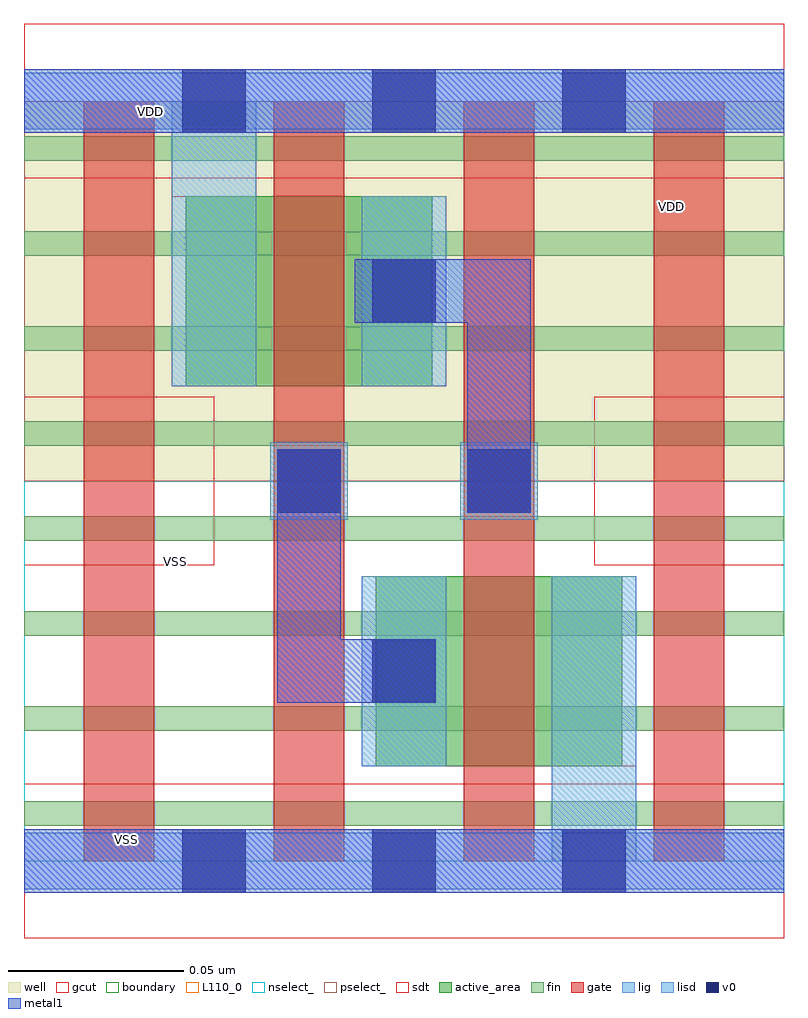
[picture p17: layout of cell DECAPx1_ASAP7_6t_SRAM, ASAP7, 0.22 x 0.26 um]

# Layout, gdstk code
import gdstk
lib = gdstk.Library(unit=1e-6, precision=2.5e-10)
def R(c, l, rs):  # rectangles x0, y0, x1, y1
    for r in rs: c.add(gdstk.rectangle(r[:2], r[2:], *l))
def A(c, l, x, y, w, h, nx, ny, dx, dy):  # array of equal rectangles
    R(c, l, [(x+i*dx, y+j*dy, x+i*dx+w, y+j*dy+h) for i in range(nx) for j in range(ny)])
def P(c, l, *ps):  # polygons
    for p in ps: c.add(gdstk.Polygon(p, *l))
well = (1, 0)
fin = (2, 0)
gate = (7, 0)
gcut = (10, 0)
active_area = (11, 0)
nselect_ = (12, 0)
pselect_ = (13, 0)
lig = (16, 0)
lisd = (17, 0)
v0 = (18, 0)
metal1 = (19, 0)
sdt = (88, 0)
boundary = (100, 0)
L110_0 = (110, 0)

decapx1_asap7_6t_sram = lib.new_cell('DECAPx1_ASAP7_6t_SRAM')
R(decapx1_asap7_6t_sram, well, [(0,0.108,0.216,0.216)])
A(decapx1_asap7_6t_sram, fin, 0, 0.01, 0.216, 0.007, 1, 7, 0, 0.027)
R(decapx1_asap7_6t_sram, fin, [(0,0.172,0.216,0.179), (0,0.199,0.216,0.206), (0,0.199,0.216,0.206)])
A(decapx1_asap7_6t_sram, gate, 0.017, 0, 0.02, 0.216, 4, 1, 0.054, 0)
R(decapx1_asap7_6t_sram, gcut, [(0,-0.022,0.216,0.022), (0,0.084,0.054,0.132), (0.162,0.084,0.216,0.132), (0,0.194,0.216,0.238)])
R(decapx1_asap7_6t_sram, active_area, [(0.1,0.027,0.17,0.081), (0.046,0.135,0.116,0.189)])
R(decapx1_asap7_6t_sram, nselect_, [(0,0,0.216,0.108)])
R(decapx1_asap7_6t_sram, pselect_, [(0,0.108,0.216,0.216)])
R(decapx1_asap7_6t_sram, lig, [(0,-0.008,0.216,0.008), (0.07,0.097,0.092,0.119), (0.124,0.097,0.146,0.119), (0,0.208,0.216,0.224)])
R(decapx1_asap7_6t_sram, lisd, [(0.15,0,0.174,0.081), (0.096,0.027,0.12,0.081), (0.042,0.135,0.066,0.216), (0.096,0.135,0.12,0.189)])
A(decapx1_asap7_6t_sram, v0, 0.045, -0.009, 0.018, 0.018, 3, 2, 0.054, 0.216)
R(decapx1_asap7_6t_sram, v0, [(0.099,0.045,0.117,0.063), (0.072,0.099,0.09,0.117), (0.126,0.099,0.144,0.117), (0.099,0.153,0.117,0.171)])
R(decapx1_asap7_6t_sram, metal1, [(0,-0.009,0.216,0.009), (0,0.207,0.216,0.225)])
P(decapx1_asap7_6t_sram, metal1, [(0.117,0.063),(0.09,0.063),(0.09,0.117),(0.072,0.117),(0.072,0.045),(0.117,0.045)],
  [(0.144,0.171),(0.094,0.171),(0.094,0.153),(0.126,0.153),(0.126,0.099),(0.144,0.099)])
R(decapx1_asap7_6t_sram, sdt, [(0.096,0.027,0.12,0.081), (0.15,0.027,0.174,0.081), (0.042,0.135,0.066,0.189), (0.096,0.135,0.12,0.189)])
R(decapx1_asap7_6t_sram, boundary, [(0,0,0.216,0.216)])
R(decapx1_asap7_6t_sram, L110_0, [(0,0,0.216,0.216)])
decapx1_asap7_6t_sram.add(gdstk.Label('VSS', (0.029,0.006), layer=19, texttype=251))
decapx1_asap7_6t_sram.add(gdstk.Label('VDD', (0.036,0.213), layer=19, texttype=251))
decapx1_asap7_6t_sram.add(gdstk.Label('VSS', (0.043,0.085), layer=3, texttype=251))
decapx1_asap7_6t_sram.add(gdstk.Label('VDD', (0.184,0.186), layer=1, texttype=251))

lib.write_gds('DECAPx1_ASAP7_6t_SRAM.gds')
